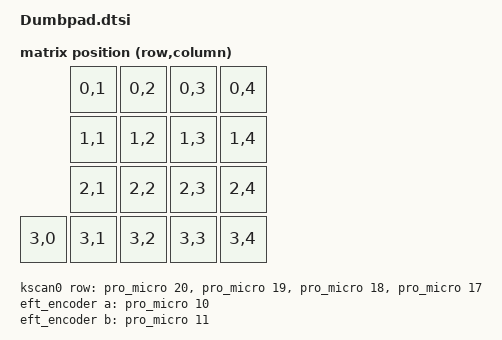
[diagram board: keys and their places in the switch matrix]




#include <dt-bindings/zmk/matrix_transform.h>

/ {
    chosen {
        zmk,kscan = &kscan0;
        zmk,matrix_transform = &default_transform;
    };
    
    default_transform: keymap_transform_0 {
        compatible = "zmk,matrix-transform";
        columns = <5>;
        rows = <4>;

        map = <
            RC(0,1) RC(0,2) RC(0,3) RC(0,4)
            RC(1,1) RC(1,2) RC(1,3) RC(1,4)
            RC(2,1) RC(2,2) RC(2,3) RC(2,4)
    RC(3,0) RC(3,1) RC(3,2) RC(3,3) RC(3,4)
        >;
    };

    kscan0: kscan_0 {
        compatible = "zmk,kscan-gpio-matrix";

        diode-direction = "col2row";
        row-gpios
            = <&pro_micro 20 (GPIO_ACTIVE_HIGH | GPIO_PULL_DOWN)>
            , <&pro_micro 19 (GPIO_ACTIVE_HIGH | GPIO_PULL_DOWN)>
            , <&pro_micro 18 (GPIO_ACTIVE_HIGH | GPIO_PULL_DOWN)>
            , <&pro_micro 17 (GPIO_ACTIVE_HIGH | GPIO_PULL_DOWN)>
            ;
    };

        eft_encoder: encoder_left {
            compatible = "alps,ec11";
            a-gpios = <&pro_micro 10 (GPIO_ACTIVE_HIGH | GPIO_PULL_UP)>;
            b-gpios = <&pro_micro 11 (GPIO_ACTIVE_HIGH | GPIO_PULL_UP)>;
            steps = <80>;
            status = "disabled";
    };

    sensors: sensors {
        compatible = "zmk,keymap-sensors";
        sensors = <&left_encoder>;
        triggers-per-rotation = <20>;
    };
    
};
